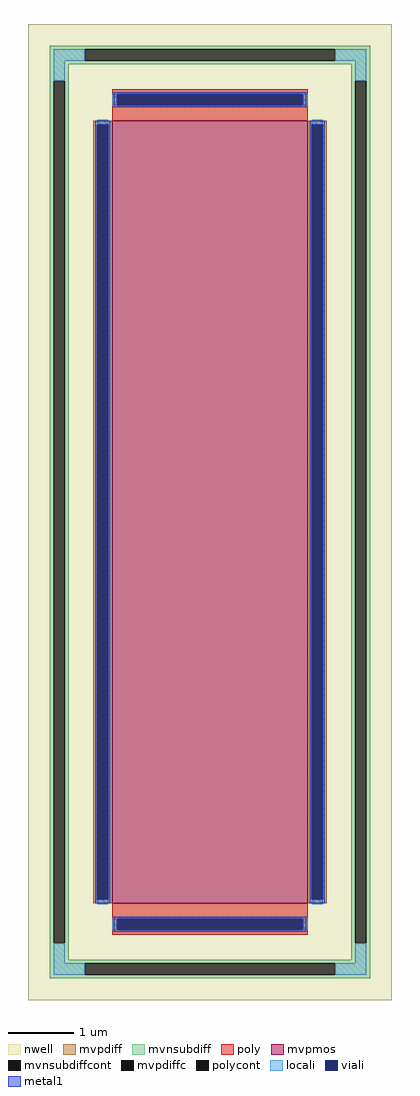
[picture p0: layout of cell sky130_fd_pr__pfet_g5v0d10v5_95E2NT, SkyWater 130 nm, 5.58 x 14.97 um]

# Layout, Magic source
magic
tech sky130A
magscale 1 2
<< nwell >>
rect -558 -1497 558 1497
<< mvpmos >>
rect -300 -1200 300 1200
<< mvpdiff >>
rect -358 1188 -300 1200
rect -358 -1188 -346 1188
rect -312 -1188 -300 1188
rect -358 -1200 -300 -1188
rect 300 1188 358 1200
rect 300 -1188 312 1188
rect 346 -1188 358 1188
rect 300 -1200 358 -1188
<< mvpdiffc >>
rect -346 -1188 -312 1188
rect 312 -1188 346 1188
<< mvnsubdiff >>
rect -492 1419 492 1431
rect -492 1385 -384 1419
rect 384 1385 492 1419
rect -492 1373 492 1385
rect -492 1323 -434 1373
rect -492 -1323 -480 1323
rect -446 -1323 -434 1323
rect 434 1323 492 1373
rect -492 -1373 -434 -1323
rect 434 -1323 446 1323
rect 480 -1323 492 1323
rect 434 -1373 492 -1323
rect -492 -1385 492 -1373
rect -492 -1419 -384 -1385
rect 384 -1419 492 -1385
rect -492 -1431 492 -1419
<< mvnsubdiffcont >>
rect -384 1385 384 1419
rect -480 -1323 -446 1323
rect 446 -1323 480 1323
rect -384 -1419 384 -1385
<< poly >>
rect -300 1281 300 1297
rect -300 1247 -284 1281
rect 284 1247 300 1281
rect -300 1200 300 1247
rect -300 -1247 300 -1200
rect -300 -1281 -284 -1247
rect 284 -1281 300 -1247
rect -300 -1297 300 -1281
<< polycont >>
rect -284 1247 284 1281
rect -284 -1281 284 -1247
<< locali >>
rect -480 1385 -384 1419
rect 384 1385 480 1419
rect -480 1323 -446 1385
rect 446 1323 480 1385
rect -300 1247 -284 1281
rect 284 1247 300 1281
rect -346 1188 -312 1204
rect -346 -1204 -312 -1188
rect 312 1188 346 1204
rect 312 -1204 346 -1188
rect -300 -1281 -284 -1247
rect 284 -1281 300 -1247
rect -480 -1385 -446 -1323
rect 446 -1385 480 -1323
rect -480 -1419 -384 -1385
rect 384 -1419 480 -1385
<< viali >>
rect -284 1247 284 1281
rect -346 -1188 -312 1188
rect 312 -1188 346 1188
rect -284 -1281 284 -1247
<< metal1 >>
rect -296 1281 296 1287
rect -296 1247 -284 1281
rect 284 1247 296 1281
rect -296 1241 296 1247
rect -352 1188 -306 1200
rect -352 -1188 -346 1188
rect -312 -1188 -306 1188
rect -352 -1200 -306 -1188
rect 306 1188 352 1200
rect 306 -1188 312 1188
rect 346 -1188 352 1188
rect 306 -1200 352 -1188
rect -296 -1247 296 -1241
rect -296 -1281 -284 -1247
rect 284 -1281 296 -1247
rect -296 -1287 296 -1281
<< properties >>
string FIXED_BBOX -463 -1402 463 1402
string gencell sky130_fd_pr__pfet_g5v0d10v5
string library sky130
string parameters w 12 l 3 m 1 nf 1 diffcov 100 polycov 100 guard 1 glc 1 grc 1 gtc 1 gbc 1 tbcov 100 rlcov 100 topc 1 botc 1 poverlap 0 doverlap 1 lmin 0.50 wmin 0.42 compatible {sky130_fd_pr__pfet_01v8  sky130_fd_pr__pfet_01v8_lvt sky130_fd_pr__pfet_01v8_hvt  sky130_fd_pr__pfet_g5v0d10v5} full_metal 1 viasrc 100 viadrn 100 viagate 100 viagb 0 viagr 0 viagl 0 viagt 0
<< end >>
